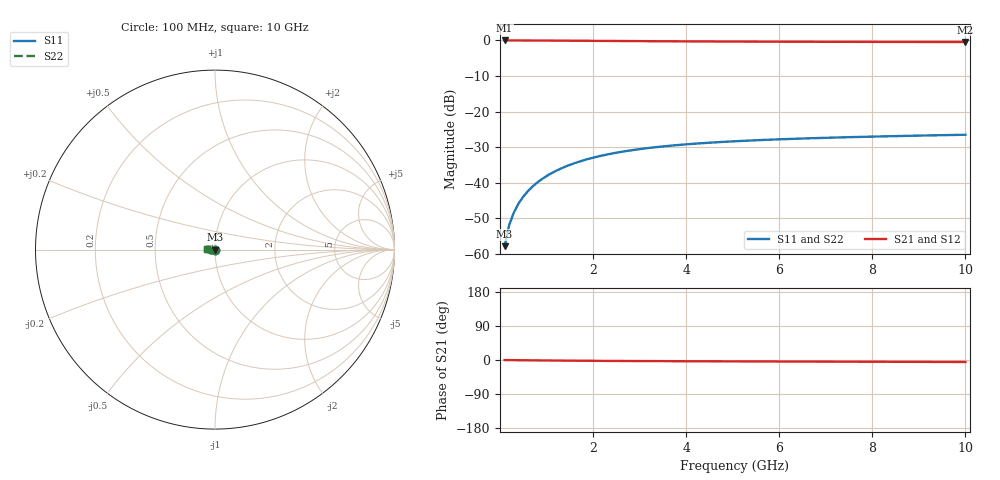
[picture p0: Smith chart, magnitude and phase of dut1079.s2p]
! Touchstone file exported from HFSS 2024.1.0
!  File:  C:/UserFiles/LocalFiles/RDL_TSV_Batchsim/temp_TSV1_1079_1780065338.aedt
!  Generated:  10:41:35 PM May 29, 2026
!  Design:  TSV1
!  Project:  temp_TSV1_1079_1780065338
!  Setup:  Setup1
!  Solution:  Sweep
! Variables:
!  dtsv = 10.48um
!  hbump = 3um
!  htsv = 81.66um
!  lrdl = 252.1521522um
!  p = 40
!  p1 = 51.98um
!  t = 500um
!  trdl = 3um
!  wrdl = 24.89489489um
# GHz S MA R 50.000000
! Terminal data exported
! Port[1] = TSV22_T1
! Port[2] = TSV22_T2
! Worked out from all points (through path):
!   100 points, 100 MHz to 10 GHz, reference 50 ohm
!   highest |S21| = 0.00 dB at 100 MHz (marker M1); lowest = -0.4 dB at 10 GHz (marker M2)
!   lowest |S11| = -57.8 dB at 100 MHz (marker M3), VSWR 1.00, Z = 50 - j0.128 ohm
!   |S11| at or under -10 dB: start of sweep to end of sweep
!   |S22| runs from -57.8 to -26.5 dB; largest |S21 - S12| = 6.2e-15
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0.1  0.001286 -85.9  0.9998 -0.1  0.9998 -0.1  0.001286 -85.9
! Gamma 0 0 0 0
! Port Impedance 50 0 50 0
0.2  0.002562 -90.6  0.9997 -0.3  0.9997 -0.3  0.002562 -90.6
0.3  0.003839 -93.3  0.9995 -0.4  0.9995 -0.4  0.003839 -93.3
0.4  0.00511 -95.6  0.9992 -0.5  0.9992 -0.5  0.00511 -95.6
0.5  0.006373 -97.8  0.9988 -0.6  0.9988 -0.6  0.006373 -97.8
0.6  0.007622 -99.8  0.9983 -0.8  0.9983 -0.8  0.007622 -99.8
0.7  0.008854 -101.7  0.9978 -0.9  0.9978 -0.9  0.008854 -101.7
0.8  0.01007 -103.7  0.9972 -1.0  0.9972 -1.0  0.01007 -103.7
0.9  0.01126 -105.5  0.9966 -1.1  0.9966 -1.1  0.01126 -105.5
1.1  0.01356 -109.1  0.9952 -1.3  0.9952 -1.3  0.01356 -109.1
1.4  0.01682 -114.3  0.9927 -1.6  0.9927 -1.6  0.01682 -114.3
1.6  0.01884 -117.6  0.9909 -1.8  0.9909 -1.8  0.01884 -117.6
1.8  0.02074 -120.7  0.9891 -2.0  0.9891 -2.0  0.02074 -120.7
2.1  0.02336 -125.2  0.9862 -2.2  0.9862 -2.2  0.02336 -125.2
2.5  0.02644 -130.6  0.9825 -2.5  0.9825 -2.5  0.02644 -130.6
2.9  0.0291 -135.6  0.9789 -2.7  0.9789 -2.7  0.0291 -135.6
3.4  0.03191 -141.3  0.9748 -3.0  0.9748 -3.0  0.03191 -141.3
4.2  0.03547 -149.1  0.9693 -3.3  0.9693 -3.3  0.03547 -149.1
5.1  0.03848 -156.5  0.9643 -3.7  0.9643 -3.7  0.03848 -156.5
6.7  0.04227 -167.1  0.9579 -4.2  0.9579 -4.2  0.04227 -167.1
8.4  0.04514 -176.0  0.9536 -4.7  0.9536 -4.7  0.04514 -176.0
10  0.04731 176.9  0.9508 -5.3  0.9508 -5.3  0.04731 176.9
